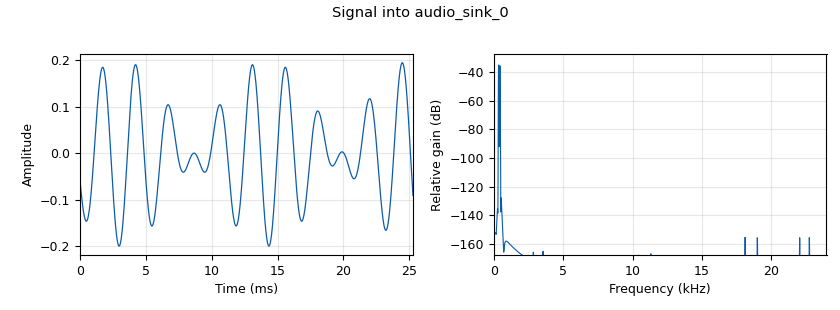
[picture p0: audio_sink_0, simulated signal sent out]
<?xml version='1.0' encoding='utf-8'?>
<?grc format='1' created='3.7.8'?>
<flow_graph>
<block>
<key>options</key>
<param><key>id</key><value>top_block</value></param>
<param><key>category</key><value>Custom</value></param>
<param><key>generate_options</key><value>qt_gui</value></param>
</block>
<block>
<key>variable</key>
<param><key>id</key><value>samp_rate</value></param>
<param><key>value</key><value>48000</value></param>
</block>
<block>
<key>analog_sig_source_x</key>
<param><key>id</key><value>analog_sig_source_x_0</value></param>
<param><key>amp</key><value>.1</value></param>
<param><key>freq</key><value>350</value></param>
<param><key>offset</key><value>0</value></param>
<param><key>type</key><value>complex</value></param>
<param><key>samp_rate</key><value>samp_rate</value></param>
<param><key>waveform</key><value>analog.GR_COS_WAVE</value></param>
</block>
<block>
<key>analog_sig_source_x</key>
<param><key>id</key><value>analog_sig_source_x_0_0</value></param>
<param><key>amp</key><value>.1</value></param>
<param><key>freq</key><value>440</value></param>
<param><key>offset</key><value>0</value></param>
<param><key>type</key><value>complex</value></param>
<param><key>samp_rate</key><value>samp_rate</value></param>
<param><key>waveform</key><value>analog.GR_COS_WAVE</value></param>
</block>
<block>
<key>audio_sink</key>
<param><key>id</key><value>audio_sink_0</value></param>
<param><key>ok_to_block</key><value>False</value></param>
<param><key>samp_rate</key><value>48000</value></param>
</block>
<block>
<key>blocks_add_xx</key>
<param><key>id</key><value>blocks_add_xx_0</value></param>
<param><key>type</key><value>complex</value></param>
</block>
<block>
<key>blocks_complex_to_real</key>
<param><key>id</key><value>blocks_complex_to_real_0</value></param>
</block>
<block>
<key>blocks_throttle</key>
<param><key>id</key><value>blocks_throttle_0</value></param>
<param><key>samples_per_second</key><value>samp_rate</value></param>
<param><key>type</key><value>complex</value></param>
</block>
<connection><source_block_id>analog_sig_source_x_0</source_block_id><sink_block_id>blocks_add_xx_0</sink_block_id><source_key>0</source_key><sink_key>0</sink_key></connection>
<connection><source_block_id>analog_sig_source_x_0_0</source_block_id><sink_block_id>blocks_add_xx_0</sink_block_id><source_key>0</source_key><sink_key>1</sink_key></connection>
<connection><source_block_id>blocks_add_xx_0</source_block_id><sink_block_id>blocks_throttle_0</sink_block_id><source_key>0</source_key><sink_key>0</sink_key></connection>
<connection><source_block_id>blocks_complex_to_real_0</source_block_id><sink_block_id>audio_sink_0</sink_block_id><source_key>0</source_key><sink_key>0</sink_key></connection>
<connection><source_block_id>blocks_throttle_0</source_block_id><sink_block_id>blocks_complex_to_real_0</sink_block_id><source_key>0</source_key><sink_key>0</sink_key></connection>
</flow_graph>
